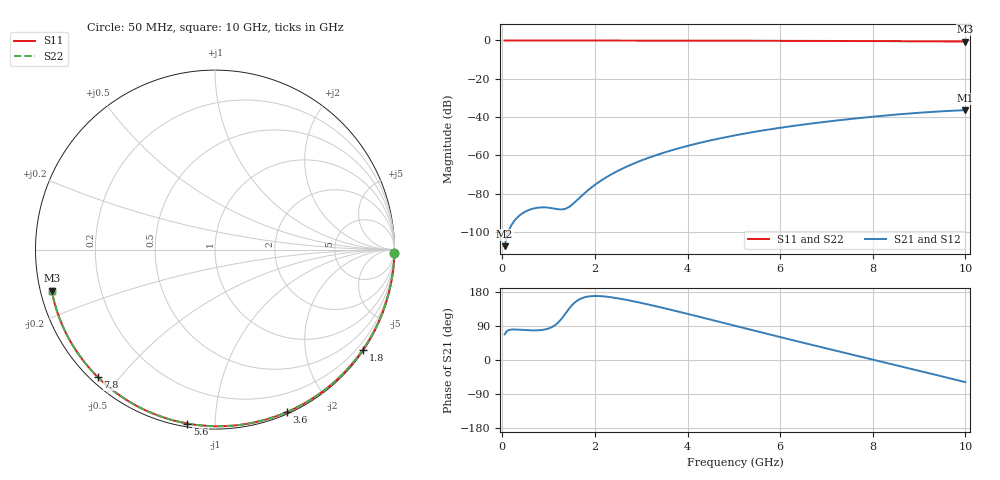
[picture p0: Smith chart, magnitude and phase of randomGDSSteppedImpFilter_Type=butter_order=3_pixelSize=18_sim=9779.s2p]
! freq	dB(S11)	phase(S11)	dB(S12)	phase(S12)
!  dB(S21)	phase(S21)	dB(S22)	phase(S22)
!S-par simulation data
#  GHz  S  DB  R 50
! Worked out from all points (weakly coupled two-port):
!   200 points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, 50 MHz to 10 GHz, reference 50 ohm
!   highest |S21| = -36.40 dB at 10 GHz (marker M1); lowest = -107.4 dB at 50 MHz (marker M2)
!   lowest |S11| = -0.6 dB at 10 GHz (marker M3), VSWR 31.26, Z = 1.62 - j6.17 ohm
!   |S11| at or under -10 dB: nowhere
!   |S22| runs from -0.6 to 0.0 dB; largest |S21 - S12| = 0
!   S11 on the Smith chart (normalised r, x): 50 MHz: open; 1.8 GHz: 0.03, -3.27; 3.6 GHz: 0.02, -1.54; 5.6 GHz: 0.02, -0.85; 7.8 GHz: 0.02, -0.44; 10 GHz: 0.03, -0.12
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0.05  -0.00 -1.0  -107.41 67.4  -107.41 67.4  -0.00 -1.0
0.45  -0.01 -8.6  -90.04 79.3  -90.04 79.3  -0.01 -8.6
0.9  -0.02 -17.2  -87.14 80.0  -87.14 80.0  -0.02 -17.2
1.3  -0.03 -24.7  -88.20 112.1  -88.20 112.1  -0.03 -24.7
1.75  -0.04 -33.1  -80.33 164.5  -80.33 164.5  -0.04 -33.1
1.8  -0.04 -34.0  -79.26 166.2  -79.26 166.2  -0.04 -34.0
1.95  -0.05 -36.8  -76.30 168.7  -76.30 168.7  -0.05 -36.8
2.1  -0.05 -39.5  -73.69 168.6  -73.69 168.6  -0.05 -39.5
2.45  -0.06 -45.9  -68.66 163.7  -68.66 163.7  -0.06 -45.9
2.65  -0.06 -49.5  -66.28 159.4  -66.28 159.4  -0.06 -49.5
2.9  -0.07 -53.9  -63.66 153.2  -63.66 153.2  -0.07 -53.9
3.4  -0.08 -62.7  -59.27 139.5  -59.27 139.5  -0.08 -62.7
3.6  -0.09 -66.1  -57.76 133.7  -57.76 133.7  -0.09 -66.1
4.3  -0.11 -78.0  -53.26 112.6  -53.26 112.6  -0.11 -78.0
5.05  -0.14 -90.2  -49.43 89.6  -49.43 89.6  -0.14 -90.2
5.6  -0.16 -99.0  -47.10 72.7  -47.10 72.7  -0.16 -99.0
6.15  -0.19 -107.6  -45.07 55.9  -45.07 55.9  -0.19 -107.6
6.7  -0.23 -116.0  -43.29 39.4  -43.29 39.4  -0.23 -116.0
7.8  -0.31 -132.6  -40.29 7.0  -40.29 7.0  -0.31 -132.6
8.35  -0.36 -140.8  -39.03 -9.1  -39.03 -9.1  -0.36 -140.8
9.2  -0.45 -153.6  -37.42 -34.4  -37.42 -34.4  -0.45 -153.6
10  -0.56 -165.9  -36.40 -58.5  -36.40 -58.5  -0.56 -165.9
